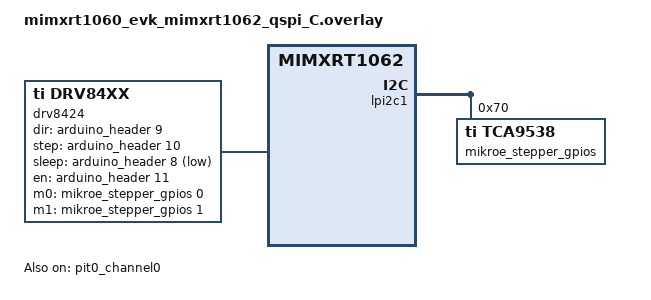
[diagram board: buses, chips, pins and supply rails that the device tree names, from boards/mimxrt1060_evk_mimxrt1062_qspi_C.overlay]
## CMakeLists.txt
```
# Copyright (c) 2024 Navimatix GmbH
# SPDX-License-Identifier: Apache-2.0

cmake_minimum_required(VERSION 3.20.0)

find_package(Zephyr REQUIRED HINTS $ENV{ZEPHYR_BASE})
project(stepper_drv84xx_api)
target_sources(app PRIVATE
	src/main.c
)
```

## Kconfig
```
# Copyright (c) 2024 Navimatix GmbH
# SPDX-License-Identifier: Apache-2.0

config ENTROPY_GENERATOR
	depends on ZTEST_SHUFFLE
	bool "Shuffle the order of tests and suites"
	default y

config STEPPER_IDX
	int "Stepper index"
	default 0
	help
	  Index of the stepper device to test.

source "Kconfig.zephyr"
```

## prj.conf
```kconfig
# Copyright (c) 2024 Navimatix GmbH
# SPDX-License-Identifier: Apache-2.0

CONFIG_ZEPHYR_STEPPER_MOTION_CONTROL_GENERATE_ISR_SAFE_EVENTS=y
CONFIG_ZTEST=y
CONFIG_TEST=y
CONFIG_TEST_USERSPACE=y
CONFIG_LOG=y
CONFIG_STEPPER_LOG_LEVEL_DBG=y
CONFIG_STEPPER=y
CONFIG_POLL=y
CONFIG_I2C=y
CONFIG_GPIO=y
```

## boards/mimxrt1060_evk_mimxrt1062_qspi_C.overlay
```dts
/*
 * Copyright (c) 2024 Navimatix GmbH
 * SPDX-License-Identifier: Apache-2.0
 */

#include <zephyr/dt-bindings/gpio/gpio.h>

/ {
	aliases {
		stepper =  &drv8424;
	};
};

&lpi2c1 {
	status = "okay";

	mikroe_stepper_gpios: mikroe_stepper_ctrl_tca9538a@70 {
		status = "okay";
		compatible = "ti,tca9538";

		reg = <0x70>;

		gpio-controller;
		ngpios = <8>;
		#gpio-cells = <2>;

		gpio-reserved-ranges = <7 1>;

		gpio-line-names =
			"M0",
			"M1",
			"DEC0",
			"DEC1",
			"TOFF",
			"STP",
			"DIR";
	};
};

/ {
	drv8424: drv8424 {
		status = "okay";
		compatible = "ti,drv84xx";

		dir-gpios = <&arduino_header 9 0>; /* D3 */
		step-gpios = <&arduino_header 10 0>; /* D4 */
		sleep-gpios = <&arduino_header 8 GPIO_ACTIVE_LOW>; /* D2 */
		en-gpios  = <&arduino_header 11 0>; /* D5 */
		m0-gpios = <&mikroe_stepper_gpios 0 0>;
		m1-gpios = <&mikroe_stepper_gpios 1 0>;
		counter = <&pit0_channel0>;

		#address-cells = <1>;
		#size-cells = <0>;
		#stepper-motor-cells = <0>;
	};
};

&pit0_channel0 {
	status = "okay";
};
```

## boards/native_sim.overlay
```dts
/*
 * Copyright (c) 2024 Navimatix GmbH
 * SPDX-License-Identifier: Apache-2.0
 */

#include <zephyr/dt-bindings/gpio/gpio.h>

/ {
	aliases {
		stepper = &drv8424;
	};
};

/ {
	drv8424: drv8424 {
		status = "okay";
		compatible = "ti,drv84xx";

		dir-gpios = <&gpio1 0 0>; /* D3 */
		step-gpios = <&gpio1 1 0>; /* D4 */
		sleep-gpios = <&gpio2 0 GPIO_ACTIVE_LOW>; /* D2 */
		en-gpios = <&gpio2 1 0>; /* 5 */
		m0-gpios = <&gpio3 0 0>;
		m1-gpios = <&gpio3 1 0>;
		counter = <&counter0>;
		step-width-ns = <1000>;
		#address-cells = <1>;
		#size-cells = <0>;
		#stepper-motor-cells = <0>;
	};

	gpio1: gpio1 {
		compatible = "zephyr,gpio-emul";
		#gpio-cells = <0x2>;
		status = "okay";
		gpio-controller;
	};

	gpio2: gpio2 {
		compatible = "zephyr,gpio-emul";
		#gpio-cells = <0x2>;
		status = "okay";
		gpio-controller;
	};

	gpio3: gpio3 {
		compatible = "zephyr,gpio-emul";
		#gpio-cells = <0x2>;
		status = "okay";
		gpio-controller;
	};
};
```

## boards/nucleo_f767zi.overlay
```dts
/*
 * Copyright (c) 2024 Navimatix GmbH
 * SPDX-License-Identifier: Apache-2.0
 */

#include <zephyr/dt-bindings/gpio/gpio.h>

/ {
	aliases {
		stepper =  &drv8424;
	};
};

&i2c1 {
	status = "okay";

	mikroe_stepper_gpios: mikroe_stepper_ctrl_tca9538a@70 {
		status = "okay";
		compatible = "ti,tca9538";

		reg = <0x70>;

		gpio-controller;
		ngpios = <8>;
		#gpio-cells = <2>;

		gpio-reserved-ranges = <7 1>;

		gpio-line-names =
			"M0",
			"M1",
			"DEC0",
			"DEC1",
			"TOFF",
			"STP",
			"DIR";
	};
};

/ {
	 drv8424: drv8424 {
		status = "okay";
		compatible = "ti,drv84xx";

		dir-gpios = <&arduino_header 18 0>; /* D12 */
		step-gpios = <&arduino_header 19 0>; /* D13 */
		sleep-gpios = <&arduino_header 15 GPIO_ACTIVE_LOW>; /* D9 */
		en-gpios  = <&arduino_header 14 0>; /* D8 */
		m0-gpios = <&mikroe_stepper_gpios 0 0>;
		m1-gpios = <&mikroe_stepper_gpios 1 0>;
		counter = <&counter2>;

		#address-cells = <1>;
		#size-cells = <0>;
		#stepper-motor-cells = <0>;
	};
};

&timers2 {
	status = "okay";
	counter2: counter {
		status = "okay";
	};
};
```

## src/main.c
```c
/*
 * Copyright 2024 Navimatix GmbH
 *
 * SPDX-License-Identifier: Apache-2.0
 */

#include <zephyr/drivers/gpio.h>
#include <zephyr/kernel.h>
#include <zephyr/ztest_assert.h>
#include <stdbool.h>
#include <stdint.h>
#include <zephyr/ztest.h>
#include <zephyr/drivers/stepper.h>

struct drv84xx_api_fixture {
	const struct device *dev;
	stepper_event_callback_t callback;
};

struct k_poll_signal stepper_signal;
struct k_poll_event stepper_event;

static void drv84xx_api_print_event_callback(const struct device *dev, enum stepper_event event,
					     void *dummy)
{
	switch (event) {
	case STEPPER_EVENT_STEPS_COMPLETED:
		k_poll_signal_raise(&stepper_signal, STEPPER_EVENT_STEPS_COMPLETED);
		break;
	case STEPPER_EVENT_LEFT_END_STOP_DETECTED:
		k_poll_signal_raise(&stepper_signal, STEPPER_EVENT_LEFT_END_STOP_DETECTED);
		break;
	case STEPPER_EVENT_RIGHT_END_STOP_DETECTED:
		k_poll_signal_raise(&stepper_signal, STEPPER_EVENT_RIGHT_END_STOP_DETECTED);
		break;
	case STEPPER_EVENT_STALL_DETECTED:
		k_poll_signal_raise(&stepper_signal, STEPPER_EVENT_STALL_DETECTED);
		break;
	default:
		break;
	}
}

static void *drv84xx_api_setup(void)
{
	static struct drv84xx_api_fixture fixture = {
		.dev = DEVICE_DT_GET(DT_ALIAS(stepper)),
		.callback = drv84xx_api_print_event_callback,
	};

	k_poll_signal_init(&stepper_signal);
	k_poll_event_init(&stepper_event, K_POLL_TYPE_SIGNAL, K_POLL_MODE_NOTIFY_ONLY,
			  &stepper_signal);

	zassert_not_null(fixture.dev);
	return &fixture;
}

static void drv84xx_api_before(void *f)
{
	struct drv84xx_api_fixture *fixture = f;
	(void)stepper_set_reference_position(fixture->dev, 0);
	(void)stepper_set_micro_step_res(fixture->dev, 1);
	k_poll_signal_reset(&stepper_signal);
}

static void drv84xx_api_after(void *f)
{
	struct drv84xx_api_fixture *fixture = f;
	(void)stepper_disable(fixture->dev);
}

ZTEST_F(drv84xx_api, test_micro_step_res_set)
{
	(void)stepper_set_micro_step_res(fixture->dev, 4);
	enum stepper_micro_step_resolution res;
	(void)stepper_get_micro_step_res(fixture->dev, &res);
	zassert_equal(res, 4, "Micro step resolution not set correctly, should be %d but is %d", 4,
		      res);
}

ZTEST_F(drv84xx_api, test_move_to_negative_direction_movement)
{
	int32_t pos = -50;

	(void)stepper_enable(fixture->dev);
	(void)stepper_set_microstep_interval(fixture->dev, 20000000);
	(void)stepper_set_event_callback(fixture->dev, fixture->callback, NULL);
	(void)stepper_move_to(fixture->dev, pos);
	(void)k_poll(&stepper_event, 1, K_SECONDS(5));
	unsigned int signaled;
	int result;

	k_poll_signal_check(&stepper_signal, &signaled, &result);
	zassert_equal(signaled, 1, "No event detected");
	zassert_equal(result, STEPPER_EVENT_STEPS_COMPLETED,
		      "Event was not STEPPER_EVENT_STEPS_COMPLETED event");
	(void)stepper_get_actual_position(fixture->dev, &pos);
	zassert_equal(pos, -50, "Target position should be %d but is %d", -50, pos);
}

ZTEST_F(drv84xx_api, test_run_positive_direction_correct_position)
{
	uint64_t step_interval = 20000000;
	int32_t steps = 0;

	(void)stepper_enable(fixture->dev);
	(void)stepper_set_microstep_interval(fixture->dev, step_interval);
	(void)stepper_run(fixture->dev, STEPPER_DIRECTION_POSITIVE);
	k_busy_wait(110000);

	(void)stepper_get_actual_position(fixture->dev, &steps);
	zassert_true(IN_RANGE(steps, 4, 6), "Current position should be between 4 and 6 but is %d",
		     steps);
}

ZTEST_F(drv84xx_api, test_run_negative_direction_correct_position)
{
	uint64_t step_interval = 20000000;
	int32_t steps = 0;

	(void)stepper_enable(fixture->dev);
	(void)stepper_set_microstep_interval(fixture->dev, step_interval);
	(void)stepper_run(fixture->dev, STEPPER_DIRECTION_NEGATIVE);
	k_busy_wait(110000);

	(void)stepper_get_actual_position(fixture->dev, &steps);
	zassert_true(IN_RANGE(steps, -6, 4),
		     "Current position should be between -6 and -4 but is %d", steps);
}

ZTEST_F(drv84xx_api, test_run_is_moving_true_when_step_interval_greater_zero)
{
	uint64_t step_interval = 20000000;
	bool moving = false;

	(void)stepper_enable(fixture->dev);
	(void)stepper_set_microstep_interval(fixture->dev, step_interval);
	(void)stepper_run(fixture->dev, STEPPER_DIRECTION_POSITIVE);
	(void)stepper_is_moving(fixture->dev, &moving);
	zassert_true(moving, "Driver should be in state is_moving");
	(void)stepper_disable(fixture->dev);
}

ZTEST_SUITE(drv84xx_api, NULL, drv84xx_api_setup, drv84xx_api_before, drv84xx_api_after, NULL);
```
